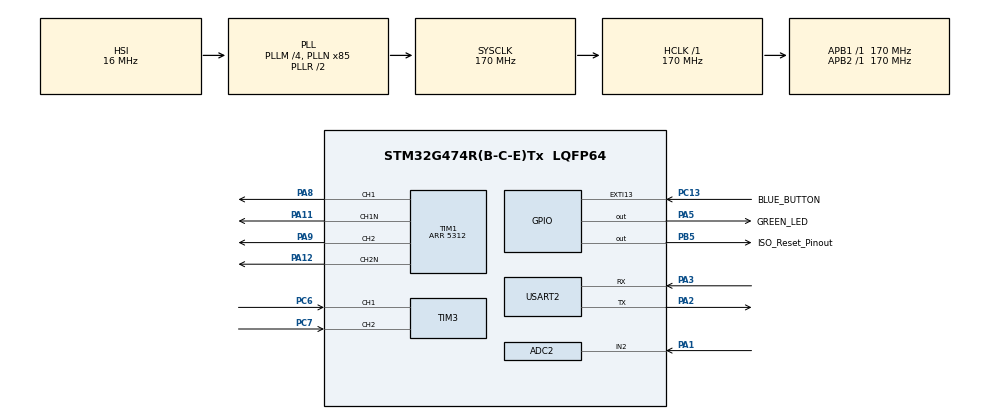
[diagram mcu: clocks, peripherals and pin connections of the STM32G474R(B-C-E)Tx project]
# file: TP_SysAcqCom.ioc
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ADC2.Channel-0\#ChannelRegularConversion=ADC_CHANNEL_2
ADC2.ClockPrescaler=ADC_CLOCK_ASYNC_DIV4
ADC2.DMAContinuousRequests=ENABLE
ADC2.ExternalTrigConv=ADC_EXTERNALTRIG_T2_TRGO
ADC2.NbrOfConversionFlag=1
ADC2.OffsetNumber-0\#ChannelRegularConversion=ADC_OFFSET_NONE
ADC2.Rank-0\#ChannelRegularConversion=1
ADC2.SamplingTime-0\#ChannelRegularConversion=ADC_SAMPLETIME_2CYCLES_5
Dma.ADC2.0.Direction=DMA_PERIPH_TO_MEMORY
Dma.ADC2.0.EventEnable=DISABLE
Dma.ADC2.0.Instance=DMA1_Channel1
Dma.ADC2.0.MemDataAlignment=DMA_MDATAALIGN_HALFWORD
Dma.ADC2.0.MemInc=DMA_MINC_ENABLE
Dma.ADC2.0.Mode=DMA_CIRCULAR
Dma.ADC2.0.PeriphDataAlignment=DMA_PDATAALIGN_HALFWORD
Dma.ADC2.0.PeriphInc=DMA_PINC_DISABLE
Dma.ADC2.0.Polarity=HAL_DMAMUX_REQ_GEN_RISING
Dma.ADC2.0.Priority=DMA_PRIORITY_LOW
Dma.ADC2.0.RequestNumber=1
Dma.ADC2.0.SignalID=NONE
Dma.ADC2.0.SyncEnable=DISABLE
Dma.ADC2.0.SyncPolarity=HAL_DMAMUX_SYNC_NO_EVENT
Dma.ADC2.0.SyncRequestNumber=1
Dma.ADC2.0.SyncSignalID=NONE
Dma.Request0=ADC2
Mcu.Family=STM32G4
Mcu.Name=STM32G474R(B-C-E)Tx
Mcu.Package=LQFP64
NVIC.ADC1_2_IRQn=true\:0\:0\:false\:false\:true\:true\:true\:true
NVIC.DMA1_Channel1_IRQn=true\:0\:0\:false\:false\:true\:false\:true\:true
NVIC.EXTI15_10_IRQn=true\:0\:0\:false\:false\:true\:true\:true\:true
NVIC.PriorityGroup=NVIC_PRIORITYGROUP_4
NVIC.TIM3_IRQn=true\:0\:0\:false\:false\:true\:true\:true\:true
NVIC.TIM4_IRQn=true\:0\:0\:false\:false\:true\:true\:true\:true
NVIC.TIM5_IRQn=true\:0\:0\:false\:false\:true\:true\:true\:true
NVIC.USART2_IRQn=true\:0\:0\:false\:false\:true\:true\:true\:true
PA1.Mode=IN2-Single-Ended
PA1.Signal=ADC2_IN2
PA11.Mode=PWM Generation1 CH1 CH1N
PA11.Signal=TIM1_CH1N
PA12.Mode=PWM Generation2 CH2 CH2N
PA12.Signal=TIM1_CH2N
PA13.GPIO_Label=T_SWDIO
PA13.Mode=Serial_Wire
PA13.Signal=SYS_JTMS-SWDIO
PA14.GPIO_Label=T_SWCLK
PA14.Mode=Serial_Wire
PA14.Signal=SYS_JTCK-SWCLK
PA2.Mode=Asynchronous
PA2.Signal=USART2_TX
PA3.Mode=Asynchronous
PA3.Signal=USART2_RX
PA5.GPIO_Label=GREEN_LED
PA5.Signal=GPIO_Output
PA8.Signal=S_TIM1_CH1
PA9.Signal=S_TIM1_CH2
PB5.GPIO_Label=ISO_Reset_Pinout
PB5.Signal=GPIO_Output
PC13.GPIO_Label=BLUE_BUTTON
PC13.Signal=GPXTI13
PC14-OSC32_IN.Mode=LSE-External-Oscillator
PC14-OSC32_IN.Signal=RCC_OSC32_IN
PC15-OSC32_OUT.Mode=LSE-External-Oscillator
PC15-OSC32_OUT.Signal=RCC_OSC32_OUT
PC6.Signal=S_TIM3_CH1
PC7.Signal=S_TIM3_CH2
PF0-OSC_IN.Mode=HSE-External-Oscillator
PF0-OSC_IN.Signal=RCC_OSC_IN
PF1-OSC_OUT.Mode=HSE-External-Oscillator
PF1-OSC_OUT.Signal=RCC_OSC_OUT
ProjectManager.HeapSize=0x200
ProjectManager.StackSize=0x400
ProjectManager.TargetToolchain=STM32CubeIDE
RCC.ADC12Freq_Value=170000000
RCC.ADC345Freq_Value=170000000
RCC.AHBFreq_Value=170000000
RCC.APB1Freq_Value=170000000
RCC.APB1TimFreq_Value=170000000
RCC.APB2Freq_Value=170000000
RCC.APB2TimFreq_Value=170000000
RCC.CortexFreq_Value=170000000
RCC.EXTERNAL_CLOCK_VALUE=12288000
RCC.HCLKFreq_Value=170000000
RCC.HSE_VALUE=24000000
RCC.HSI48_VALUE=48000000
RCC.HSI_VALUE=16000000
RCC.PLLM=RCC_PLLM_DIV4
RCC.PLLN=85
RCC.RTCClockSelection=RCC_RTCCLKSOURCE_LSE
RCC.SYSCLKFreq_VALUE=170000000
RCC.SYSCLKSource=RCC_SYSCLKSOURCE_PLLCLK
RCC.USBFreq_Value=170000000
RCC.VCOOutputFreq_Value=340000000
SH.S_TIM1_CH1.0=TIM1_CH1,PWM Generation1 CH1 CH1N
SH.S_TIM1_CH2.0=TIM1_CH2,PWM Generation2 CH2 CH2N
SH.S_TIM3_CH1.0=TIM3_CH1,Encoder_Interface
SH.S_TIM3_CH2.0=TIM3_CH2,Encoder_Interface
TIM1.AutoReloadPreload=TIM_AUTORELOAD_PRELOAD_ENABLE
TIM1.Channel-PWM\ Generation1\ CH1\ CH1N=TIM_CHANNEL_1
TIM1.Channel-PWM\ Generation2\ CH2\ CH2N=TIM_CHANNEL_2
TIM1.CounterMode=TIM_COUNTERMODE_CENTERALIGNED1
TIM1.DeadTime=202
TIM1.PeriodNoDither=5312
TIM1.PulseNoDither_1=2656
TIM1.PulseNoDither_2=2656
TIM2.AutoReloadPreload=TIM_AUTORELOAD_PRELOAD_ENABLE
TIM2.PeriodNoDither=65535
TIM2.Prescaler=0
TIM2.TIM_MasterOutputTrigger=TIM_TRGO_UPDATE
TIM2.TIM_MasterSlaveMode=TIM_MASTERSLAVEMODE_DISABLE
TIM3.EncoderMode=TIM_ENCODERMODE_TI12
TIM4.AutoReloadPreload=TIM_AUTORELOAD_PRELOAD_ENABLE
TIM4.PeriodNoDither=9999
TIM4.Prescaler=169
TIM5.PeriodNoDither=999
TIM5.Prescaler=169
USART2.VirtualMode-Asynchronous=VM_ASYNC
VP_SYS_VS_DBSignals.Mode=DisableDeadBatterySignals
VP_TIM2_VS_ClockSourceINT.Mode=Internal
VP_TIM4_VS_ClockSourceINT.Mode=Internal
VP_TIM5_VS_ClockSourceINT.Mode=Internal
board=NUCLEO-G474RE

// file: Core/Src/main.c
/* USER CODE BEGIN Header */
/**
 ******************************************************************************
 * @file           : main.c
 * @brief          : Main program body
 ******************************************************************************
 * @attention
 *
 * Copyright (c) 2022 STMicroelectronics.
 * All rights reserved.
 *
 * This software is licensed under terms that can be found in the LICENSE file
 * in the root directory of this software component.
 * If no LICENSE file comes with this software, it is provided AS-IS.
 *
 ******************************************************************************
 */
/* USER CODE END Header */
#include "main.h"

/* USER CODE BEGIN PD */
#define UART_TX_BUFFER_SIZE 64
#define UART_RX_BUFFER_SIZE 1
#define CMD_BUFFER_SIZE 64
#define MAX_ARGS 9
// LF = line feed, saut de ligne
#define ASCII_LF 0x0A
// CR = carriage return, retour chariot
#define ASCII_CR 0x0D
// DEL = delete
#define ASCII_DEL 0x7F

#define ADC_BUF_SIZE 20

#define ENCODER_MEDIAN_VALUE 32768

/* USER CODE END PD */

ADC_HandleTypeDef hadc2;
DMA_HandleTypeDef hdma_adc2;

TIM_HandleTypeDef htim1;
TIM_HandleTypeDef htim2;
TIM_HandleTypeDef htim3;
TIM_HandleTypeDef htim4;
TIM_HandleTypeDef htim5;

UART_HandleTypeDef huart2;

/* USER CODE BEGIN PV */
uint8_t prompt[]="user@Nucleo-STM32G431>>";
uint8_t started[]=
		"\r\n*-----------------------------*"
		"\r\n| Welcome on Nucleo-STM32G431 |"
		"\r\n*-----------------------------*"
		"\r\n";
uint8_t newline[]="\r\n";
uint8_t cmdNotFound[]="Command not found\r\n";
uint8_t help[]="Available commands : \r\n   help\r\n   pinout\r\n   start\r\n   stop\r\n   set\r\n   alpha\r\n   ADC\r\n";
uint8_t pinout[]="Used PINs : \r\n   PB1  : ISO_Reset\r\n   PA8  : TIM1_CH1\r\n   PA9  : TIM1_CH2\r\n   PA11 : TIM1_CH1N\r\n   PA12 : TIM1_CH2N\r\n   PA1  : ADC2_IN2\r\n   PC6  : TIM3_CH1\r\n   PC7  : TIM3_CH2\r\n";
uint8_t powerOn[]="Power ON\r\n";
uint8_t powerOff[]="Power OFF\r\n";
uint32_t uartRxReceived;
uint8_t uartRxBuffer[UART_RX_BUFFER_SIZE];
uint8_t uartTxBuffer[UART_TX_BUFFER_SIZE];

float alphaValue1 = 0;
float alphaValue2 = 0;

//Pour la mesure de courant
uint16_t ADC1_buffer[ADC_BUF_SIZE];
uint16_t ADC1_buffer_copy[ADC_BUF_SIZE];
uint8_t flagADC1 = 0;
uint8_t idxADC1 = 0;
uint8_t idxADC1bis = 0;
uint32_t ADC1ValueMoy = 0;
float currentADC = 0;

//Pour la mesure de vitesse
float speed = 0;
int32_t encoderCounter = 0;

//Pour l'asservissement en courant
float alpha_current;
float Ki_current = 1;
float K_current =1;

float alpha_ki_current = 50;
float alpha_k_current = 50;
float epsilon_current = 0;

/* USER CODE END PV */

void SystemClock_Config(void);
static void MX_GPIO_Init(void);
static void MX_DMA_Init(void);
static void MX_USART2_UART_Init(void);
static void MX_TIM1_Init(void);
static void MX_TIM2_Init(void);
static void MX_ADC2_Init(void);
static void MX_TIM3_Init(void);
static void MX_TIM4_Init(void);
static void MX_TIM5_Init(void);

/* USER CODE BEGIN 0 */
int __io_putchar(int ch)
{
	HAL_UART_Transmit(&huart2, (uint16_t*)&ch, 1, HAL_MAX_DELAY);

	return ch;
}

//TEST CODEUR EN POSITION
//=================================================================

//int16_t encoderPosition = 0;

void HAL_TIM_IC_CaptureCallback(TIM_HandleTypeDef *htim)
{
	if(htim == &htim3)
	{
		encoderCounter = __HAL_TIM_GET_COUNTER(htim);
		//encoderPosition = (int16_t)encoderCounter;
	}

}
//=================================================================

/* USER CODE END 0 */

int main(void)
{
	/* USER CODE BEGIN 1 */
	char	 	cmdBuffer[CMD_BUFFER_SIZE];
	int 		idx_cmd;
	char* 		argv[MAX_ARGS];
	int		 	argc = 0;
	char*		token;
	int 		newCmdReady = 0;

	/* USER CODE END 1 */

	/* MCU Configuration--------------------------------------------------------*/

	/* Reset of all peripherals, Initializes the Flash interface and the Systick. */
	HAL_Init();

	/* Configure the system clock */
	SystemClock_Config();

	/* Initialize all configured peripherals */
	MX_GPIO_Init();
	MX_DMA_Init();
	MX_USART2_UART_Init();
	MX_TIM1_Init();
	MX_TIM2_Init();
	MX_ADC2_Init();
	MX_TIM3_Init();
	MX_TIM4_Init();
	MX_TIM5_Init();
	/* USER CODE BEGIN 2 */
	memset(argv,NULL,MAX_ARGS*sizeof(char*));
	memset(cmdBuffer,NULL,CMD_BUFFER_SIZE*sizeof(char));
	memset(uartRxBuffer,NULL,UART_RX_BUFFER_SIZE*sizeof(char));
	memset(uartTxBuffer,NULL,UART_TX_BUFFER_SIZE*sizeof(char));

	HAL_UART_Receive_IT(&huart2, uartRxBuffer, UART_RX_BUFFER_SIZE);
	HAL_Delay(10);
	HAL_UART_Transmit(&huart2, started, sizeof(started), HAL_MAX_DELAY);
	HAL_UART_Transmit(&huart2, prompt, sizeof(prompt), HAL_MAX_DELAY);

	START_PWM();

	//Initialisation de l'ADC1
	if(HAL_OK != HAL_ADCEx_Calibration_Start(&hadc2, ADC_SINGLE_ENDED))
		Error_Handler();

	if(HAL_OK != HAL_ADC_Start_DMA(&hadc2, ADC1_buffer, ADC_BUF_SIZE))
		Error_Handler();
	//Initialisation de l'ADC
	if(HAL_OK != HAL_TIM_Base_Start(&htim2))
		Error_Handler();

	if(HAL_OK != HAL_TIM_Encoder_Start_IT(&htim3, TIM_CHANNEL_ALL))
		Error_Handler();

	QuickStart();

	HAL_TIM_Base_Start_IT(&htim4);
	HAL_TIM_Base_Start_IT(&htim5);

	/* USER CODE END 2 */

	/* Infinite loop */
	/* USER CODE BEGIN WHILE */
	while (1)
	{
		if (flagADC1==1)
		{
			//HAL_ADC_Stop_DMA(&hadc1);
			flagADC1=0;
			for(idxADC1=0;idxADC1< ADC_BUF_SIZE; idxADC1++)
			{
				ADC1_buffer_copy[idxADC1] = ADC1_buffer[idxADC1];
				//printf("ADC1_buffer : %d\r\n", ADC1_buffer[idxADC1bis]);
				//ADC1ValueMoy = ADC1ValueMoy + ADC1_buffer[idxADC1];
			}
			//ADC1ValueMoy = ADC1ValueMoy/ADC_BUF_SIZE;
			//CurrentCalcul(ADC1ValueMoy);

			//HAL_ADC_Start_DMA(&hadc1, ADC1_buffer, ADC_BUF_SIZE);

		}

		// uartRxReceived is set to 1 when a new character is received on uart 1
		if(uartRxReceived){
			switch(uartRxBuffer[0]){
			// Nouvelle ligne, instruction à traiter
			case ASCII_CR:
				HAL_UART_Transmit(&huart2, newline, sizeof(newline), HAL_MAX_DELAY);
				cmdBuffer[idx_cmd] = '\0';
				argc = 0;
				token = strtok(cmdBuffer, " ");
				while(token!=NULL){
					argv[argc++] = token;
					token = strtok(NULL, " ");
				}

				idx_cmd = 0;
				newCmdReady = 1;
				break;
				// Suppression du dernier caractère
			case ASCII_DEL:
				cmdBuffer[idx_cmd--] = '\0';
				HAL_UART_Transmit(&huart2, uartRxBuffer, UART_RX_BUFFER_SIZE, HAL_MAX_DELAY);
				break;
				// Nouveau caractère
			default:
				cmdBuffer[idx_cmd++] = uartRxBuffer[0];
				HAL_UART_Transmit(&huart2, uartRxBuffer, UART_RX_BUFFER_SIZE, HAL_MAX_DELAY);
			}
			uartRxReceived = 0;
		}

		if(newCmdReady){
			//=============================================================================================
			if(strcmp(argv[0],"set")==0){
				if(strcmp(argv[1],"PA5")==0){
					HAL_GPIO_WritePin(GREEN_LED_GPIO_Port, GREEN_LED_Pin, atoi(argv[2]));
					sprintf(uartTxBuffer,"Switch on/off led : %d\r\n",atoi(argv[2]));
					HAL_UART_Transmit(&huart2, uartTxBuffer, 32, HAL_MAX_DELAY);
				}
				else{
					HAL_UART_Transmit(&huart2, cmdNotFound, sizeof(cmdNotFound), HAL_MAX_DELAY);
				}
			}

			//=============================================================================================

			else if(strcmp(argv[0],"get")==0)
			{
				HAL_UART_Transmit(&huart2, cmdNotFound, sizeof(cmdNotFound), HAL_MAX_DELAY);
			}

			//=============================================================================================

			else if(strcmp(argv[0],"start")==0)
			{
				HAL_UART_Transmit(&huart2, powerOn, sizeof(powerOn), HAL_MAX_DELAY);
				HAL_GPIO_WritePin(ISO_Reset_Pinout_GPIO_Port, ISO_Reset_Pinout_Pin, SET);
				HAL_Delay(1);
				HAL_GPIO_WritePin(ISO_Reset_Pinout_GPIO_Port, ISO_Reset_Pinout_Pin, RESET);

				START_PWM();

			}

			//=============================================================================================

			else if(strcmp(argv[0],"stop")==0)
			{
				HAL_UART_Transmit(&huart2, powerOff, sizeof(powerOff), HAL_MAX_DELAY);
				HAL_TIM_PWM_Stop(&htim1, TIM_CHANNEL_1);
				HAL_TIMEx_PWMN_Stop(&htim1, TIM_CHANNEL_1);
				HAL_TIM_PWM_Stop(&htim1, TIM_CHANNEL_2);
				HAL_TIMEx_PWMN_Stop(&htim1, TIM_CHANNEL_2);
			}

			//=============================================================================================

			else if(strcmp(argv[0],"help")==0)
			{
				HAL_UART_Transmit(&huart2, help, sizeof(help), HAL_MAX_DELAY);
			}

			//=============================================================================================

			else if(strcmp(argv[0],"pinout")==0)
			{
				HAL_UART_Transmit(&huart2, pinout, sizeof(pinout), HAL_MAX_DELAY);
			}

			//=============================================================================================
			else if(strcmp(argv[0],"alpha")==0)
			{

				Set_Alpha(atoi(argv[1]));
			}

			//=============================================================================================
			else if(strcmp(argv[0],"ADC")==0)
			{
				GetCurrent();
				printf("Courant moteur:%.3f mA\r\n", currentADC);
			}

			//=============================================================================================

			else if(strcmp(argv[0],"p")==0)
			{
				printf("Pos : %d\r\n", encoderCounter );
			}

			//=============================================================================================

			else if(strcmp(argv[0],"speed")==0)
			{
				printf("Speed : %f\r\n",speed);
			}

			//=============================================================================================

			else{
				HAL_UART_Transmit(&huart2, cmdNotFound, sizeof(cmdNotFound), HAL_MAX_DELAY);

			}

			HAL_UART_Transmit(&huart2, prompt, sizeof(prompt), HAL_MAX_DELAY);
			newCmdReady = 0;
		}
		/* USER CODE END WHILE */

	}
}

void SystemClock_Config(void)
{
	RCC_OscInitTypeDef RCC_OscInitStruct = {0};
	RCC_ClkInitTypeDef RCC_ClkInitStruct = {0};

	/** Configure the main internal regulator output voltage
	 */
	HAL_PWREx_ControlVoltageScaling(PWR_REGULATOR_VOLTAGE_SCALE1_BOOST);

	/** Initializes the RCC Oscillators according to the specified parameters
	 * in the RCC_OscInitTypeDef structure.
	 */
	RCC_OscInitStruct.OscillatorType = RCC_OSCILLATORTYPE_HSI;
	RCC_OscInitStruct.HSIState = RCC_HSI_ON;
	RCC_OscInitStruct.HSICalibrationValue = RCC_HSICALIBRATION_DEFAULT;
	RCC_OscInitStruct.PLL.PLLState = RCC_PLL_ON;
	RCC_OscInitStruct.PLL.PLLSource = RCC_PLLSOURCE_HSI;
	RCC_OscInitStruct.PLL.PLLM = RCC_PLLM_DIV4;
	RCC_OscInitStruct.PLL.PLLN = 85;
	RCC_OscInitStruct.PLL.PLLP = RCC_PLLP_DIV2;
	RCC_OscInitStruct.PLL.PLLQ = RCC_PLLQ_DIV2;
	RCC_OscInitStruct.PLL.PLLR = RCC_PLLR_DIV2;
	if (HAL_RCC_OscConfig(&RCC_OscInitStruct) != HAL_OK)
	{
		Error_Handler();
	}

	/** Initializes the CPU, AHB and APB buses clocks
	 */
	RCC_ClkInitStruct.ClockType = RCC_CLOCKTYPE_HCLK|RCC_CLOCKTYPE_SYSCLK
			|RCC_CLOCKTYPE_PCLK1|RCC_CLOCKTYPE_PCLK2;
	RCC_ClkInitStruct.SYSCLKSource = RCC_SYSCLKSOURCE_PLLCLK;
	RCC_ClkInitStruct.AHBCLKDivider = RCC_SYSCLK_DIV1;
	RCC_ClkInitStruct.APB1CLKDivider = RCC_HCLK_DIV1;
	RCC_ClkInitStruct.APB2CLKDivider = RCC_HCLK_DIV1;

	if (HAL_RCC_ClockConfig(&RCC_ClkInitStruct, FLASH_LATENCY_4) != HAL_OK)
	{
		Error_Handler();
	}
}

static void MX_ADC2_Init(void)
{

	ADC_ChannelConfTypeDef sConfig = {0};

	/** Common config
	 */
	hadc2.Instance = ADC2;
	hadc2.Init.ClockPrescaler = ADC_CLOCK_ASYNC_DIV4;
	hadc2.Init.Resolution = ADC_RESOLUTION_12B;
	hadc2.Init.DataAlign = ADC_DATAALIGN_RIGHT;
	hadc2.Init.GainCompensation = 0;
	hadc2.Init.ScanConvMode = ADC_SCAN_DISABLE;
	hadc2.Init.EOCSelection = ADC_EOC_SINGLE_CONV;
	hadc2.Init.LowPowerAutoWait = DISABLE;
	hadc2.Init.ContinuousConvMode = DISABLE;
	hadc2.Init.NbrOfConversion = 1;
	hadc2.Init.DiscontinuousConvMode = DISABLE;
	hadc2.Init.ExternalTrigConv = ADC_EXTERNALTRIG_T2_TRGO;
	hadc2.Init.ExternalTrigConvEdge = ADC_EXTERNALTRIGCONVEDGE_RISING;
	hadc2.Init.DMAContinuousRequests = ENABLE;
	hadc2.Init.Overrun = ADC_OVR_DATA_PRESERVED;
	hadc2.Init.OversamplingMode = DISABLE;
	if (HAL_ADC_Init(&hadc2) != HAL_OK)
	{
		Error_Handler();
	}

	/** Configure Regular Channel
	 */
	sConfig.Channel = ADC_CHANNEL_2;
	sConfig.Rank = ADC_REGULAR_RANK_1;
	sConfig.SamplingTime = ADC_SAMPLETIME_2CYCLES_5;
	sConfig.SingleDiff = ADC_SINGLE_ENDED;
	sConfig.OffsetNumber = ADC_OFFSET_NONE;
	sConfig.Offset = 0;
	if (HAL_ADC_ConfigChannel(&hadc2, &sConfig) != HAL_OK)
	{
		Error_Handler();
	}

}

static void MX_TIM1_Init(void)
{

	TIM_MasterConfigTypeDef sMasterConfig = {0};
	TIM_OC_InitTypeDef sConfigOC = {0};
	TIM_BreakDeadTimeConfigTypeDef sBreakDeadTimeConfig = {0};

	htim1.Instance = TIM1;
	htim1.Init.Prescaler = 0;
	htim1.Init.CounterMode = TIM_COUNTERMODE_CENTERALIGNED1;
	htim1.Init.Period = 5312;
	htim1.Init.ClockDivision = TIM_CLOCKDIVISION_DIV1;
	htim1.Init.RepetitionCounter = 0;
	htim1.Init.AutoReloadPreload = TIM_AUTORELOAD_PRELOAD_ENABLE;
	if (HAL_TIM_PWM_Init(&htim1) != HAL_OK)
	{
		Error_Handler();
	}
	sMasterConfig.MasterOutputTrigger = TIM_TRGO_RESET;
	sMasterConfig.MasterOutputTrigger2 = TIM_TRGO2_RESET;
	sMasterConfig.MasterSlaveMode = TIM_MASTERSLAVEMODE_DISABLE;
	if (HAL_TIMEx_MasterConfigSynchronization(&htim1, &sMasterConfig) != HAL_OK)
	{
		Error_Handler();
	}
	sConfigOC.OCMode = TIM_OCMODE_PWM1;
	sConfigOC.Pulse = 2656;
	sConfigOC.OCPolarity = TIM_OCPOLARITY_HIGH;
	sConfigOC.OCNPolarity = TIM_OCNPOLARITY_HIGH;
	sConfigOC.OCFastMode = TIM_OCFAST_DISABLE;
	sConfigOC.OCIdleState = TIM_OCIDLESTATE_RESET;
	sConfigOC.OCNIdleState = TIM_OCNIDLESTATE_RESET;
	if (HAL_TIM_PWM_ConfigChannel(&htim1, &sConfigOC, TIM_CHANNEL_1) != HAL_OK)
	{
		Error_Handler();
	}
	if (HAL_TIM_PWM_ConfigChannel(&htim1, &sConfigOC, TIM_CHANNEL_2) != HAL_OK)
	{
		Error_Handler();
	}
	sBreakDeadTimeConfig.OffStateRunMode = TIM_OSSR_DISABLE;
	sBreakDeadTimeConfig.OffStateIDLEMode = TIM_OSSI_DISABLE;
	sBreakDeadTimeConfig.LockLevel = TIM_LOCKLEVEL_OFF;
	sBreakDeadTimeConfig.DeadTime = 202;
	sBreakDeadTimeConfig.BreakState = TIM_BREAK_DISABLE;
	sBreakDeadTimeConfig.BreakPolarity = TIM_BREAKPOLARITY_HIGH;
	sBreakDeadTimeConfig.BreakFilter = 0;
	sBreakDeadTimeConfig.BreakAFMode = TIM_BREAK_AFMODE_INPUT;
	sBreakDeadTimeConfig.Break2State = TIM_BREAK2_DISABLE;
	sBreakDeadTimeConfig.Break2Polarity = TIM_BREAK2POLARITY_HIGH;
	sBreakDeadTimeConfig.Break2Filter = 0;
	sBreakDeadTimeConfig.Break2AFMode = TIM_BREAK_AFMODE_INPUT;
	sBreakDeadTimeConfig.AutomaticOutput = TIM_AUTOMATICOUTPUT_DISABLE;
	if (HAL_TIMEx_ConfigBreakDeadTime(&htim1, &sBreakDeadTimeConfig) != HAL_OK)
	{
		Error_Handler();
	}
	HAL_TIM_MspPostInit(&htim1);

}

static void MX_TIM2_Init(void)
{

	TIM_ClockConfigTypeDef sClockSourceConfig = {0};
	TIM_MasterConfigTypeDef sMasterConfig = {0};

	htim2.Instance = TIM2;
	htim2.Init.Prescaler = 0;
	htim2.Init.CounterMode = TIM_COUNTERMODE_UP;
	htim2.Init.Period = 65535;
	htim2.Init.ClockDivision = TIM_CLOCKDIVISION_DIV1;
	htim2.Init.AutoReloadPreload = TIM_AUTORELOAD_PRELOAD_ENABLE;
	if (HAL_TIM_Base_Init(&htim2) != HAL_OK)
	{
		Error_Handler();
	}
	sClockSourceConfig.ClockSource = TIM_CLOCKSOURCE_INTERNAL;
	if (HAL_TIM_ConfigClockSource(&htim2, &sClockSourceConfig) != HAL_OK)
	{
		Error_Handler();
	}
	sMasterConfig.MasterOutputTrigger = TIM_TRGO_UPDATE;
	sMasterConfig.MasterSlaveMode = TIM_MASTERSLAVEMODE_DISABLE;
	if (HAL_TIMEx_MasterConfigSynchronization(&htim2, &sMasterConfig) != HAL_OK)
	{
		Error_Handler();
	}

}

static void MX_TIM3_Init(void)
{

	TIM_Encoder_InitTypeDef sConfig = {0};
	TIM_MasterConfigTypeDef sMasterConfig = {0};

	htim3.Instance = TIM3;
	htim3.Init.Prescaler = 0;
	htim3.Init.CounterMode = TIM_COUNTERMODE_UP;
	htim3.Init.Period = 65535;
	htim3.Init.ClockDivision = TIM_CLOCKDIVISION_DIV1;
	htim3.Init.AutoReloadPreload = TIM_AUTORELOAD_PRELOAD_DISABLE;
	sConfig.EncoderMode = TIM_ENCODERMODE_TI12;
	sConfig.IC1Polarity = TIM_ICPOLARITY_RISING;
	sConfig.IC1Selection = TIM_ICSELECTION_DIRECTTI;
	sConfig.IC1Prescaler = TIM_ICPSC_DIV1;
	sConfig.IC1Filter = 0;
	sConfig.IC2Polarity = TIM_ICPOLARITY_RISING;
	sConfig.IC2Selection = TIM_ICSELECTION_DIRECTTI;
	sConfig.IC2Prescaler = TIM_ICPSC_DIV1;
	sConfig.IC2Filter = 0;
	if (HAL_TIM_Encoder_Init(&htim3, &sConfig) != HAL_OK)
	{
		Error_Handler();
	}
	sMasterConfig.MasterOutputTrigger = TIM_TRGO_RESET;
	sMasterConfig.MasterSlaveMode = TIM_MASTERSLAVEMODE_DISABLE;
	if (HAL_TIMEx_MasterConfigSynchronization(&htim3, &sMasterConfig) != HAL_OK)
	{
		Error_Handler();
	}

}

static void MX_TIM4_Init(void)
{

	TIM_ClockConfigTypeDef sClockSourceConfig = {0};
	TIM_MasterConfigTypeDef sMasterConfig = {0};

	htim4.Instance = TIM4;
	htim4.Init.Prescaler = 169;
	htim4.Init.CounterMode = TIM_COUNTERMODE_UP;
	htim4.Init.Period = 9999;
	htim4.Init.ClockDivision = TIM_CLOCKDIVISION_DIV1;
	htim4.Init.AutoReloadPreload = TIM_AUTORELOAD_PRELOAD_ENABLE;
	if (HAL_TIM_Base_Init(&htim4) != HAL_OK)
	{
		Error_Handler();
	}
	sClockSourceConfig.ClockSource = TIM_CLOCKSOURCE_INTERNAL;
	if (HAL_TIM_ConfigClockSource(&htim4, &sClockSourceConfig) != HAL_OK)
	{
		Error_Handler();
	}
	sMasterConfig.MasterOutputTrigger = TIM_TRGO_RESET;
	sMasterConfig.MasterSlaveMode = TIM_MASTERSLAVEMODE_DISABLE;
	if (HAL_TIMEx_MasterConfigSynchronization(&htim4, &sMasterConfig) != HAL_OK)
	{
		Error_Handler();
	}

}

static void MX_TIM5_Init(void)
{

	TIM_ClockConfigTypeDef sClockSourceConfig = {0};
	TIM_MasterConfigTypeDef sMasterConfig = {0};

	htim5.Instance = TIM5;
	htim5.Init.Prescaler = 169;
	htim5.Init.CounterMode = TIM_COUNTERMODE_UP;
	htim5.Init.Period = 999;
	htim5.Init.ClockDivision = TIM_CLOCKDIVISION_DIV1;
	htim5.Init.AutoReloadPreload = TIM_AUTORELOAD_PRELOAD_DISABLE;
	if (HAL_TIM_Base_Init(&htim5) != HAL_OK)
	{
		Error_Handler();
	}
	sClockSourceConfig.ClockSource = TIM_CLOCKSOURCE_INTERNAL;
	if (HAL_TIM_ConfigClockSource(&htim5, &sClockSourceConfig) != HAL_OK)
	{
		Error_Handler();
	}
	sMasterConfig.MasterOutputTrigger = TIM_TRGO_RESET;
	sMasterConfig.MasterSlaveMode = TIM_MASTERSLAVEMODE_DISABLE;
	if (HAL_TIMEx_MasterConfigSynchronization(&htim5, &sMasterConfig) != HAL_OK)
	{
		Error_Handler();
	}

}

static void MX_USART2_UART_Init(void)
{

	huart2.Instance = USART2;
	huart2.Init.BaudRate = 115200;
	huart2.Init.WordLength = UART_WORDLENGTH_8B;
	huart2.Init.StopBits = UART_STOPBITS_1;
	huart2.Init.Parity = UART_PARITY_NONE;
	huart2.Init.Mode = UART_MODE_TX_RX;
	huart2.Init.HwFlowCtl = UART_HWCONTROL_NONE;
	huart2.Init.OverSampling = UART_OVERSAMPLING_16;
	huart2.Init.OneBitSampling = UART_ONE_BIT_SAMPLE_DISABLE;
	huart2.Init.ClockPrescaler = UART_PRESCALER_DIV1;
	huart2.AdvancedInit.AdvFeatureInit = UART_ADVFEATURE_NO_INIT;
	if (HAL_UART_Init(&huart2) != HAL_OK)
	{
		Error_Handler();
	}
	if (HAL_UARTEx_SetTxFifoThreshold(&huart2, UART_TXFIFO_THRESHOLD_1_8) != HAL_OK)
	{
		Error_Handler();
	}
	if (HAL_UARTEx_SetRxFifoThreshold(&huart2, UART_RXFIFO_THRESHOLD_1_8) != HAL_OK)
	{
		Error_Handler();
	}
	if (HAL_UARTEx_DisableFifoMode(&huart2) != HAL_OK)
	{
		Error_Handler();
	}

}

static void MX_DMA_Init(void)
{

	/* DMA controller clock enable */
	__HAL_RCC_DMAMUX1_CLK_ENABLE();
	__HAL_RCC_DMA1_CLK_ENABLE();

	/* DMA interrupt init */
	/* DMA1_Channel1_IRQn interrupt configuration */
	HAL_NVIC_SetPriority(DMA1_Channel1_IRQn, 0, 0);
	HAL_NVIC_EnableIRQ(DMA1_Channel1_IRQn);

}

static void MX_GPIO_Init(void)
{
	GPIO_InitTypeDef GPIO_InitStruct = {0};

	/* GPIO Ports Clock Enable */
	__HAL_RCC_GPIOC_CLK_ENABLE();
	__HAL_RCC_GPIOF_CLK_ENABLE();
	__HAL_RCC_GPIOA_CLK_ENABLE();
	__HAL_RCC_GPIOB_CLK_ENABLE();

	/*Configure GPIO pin Output Level */
	HAL_GPIO_WritePin(GREEN_LED_GPIO_Port, GREEN_LED_Pin, GPIO_PIN_RESET);

	/*Configure GPIO pin Output Level */
	HAL_GPIO_WritePin(ISO_Reset_Pinout_GPIO_Port, ISO_Reset_Pinout_Pin, GPIO_PIN_RESET);

	/*Configure GPIO pin : BLUE_BUTTON_Pin */
	GPIO_InitStruct.Pin = BLUE_BUTTON_Pin;
	GPIO_InitStruct.Mode = GPIO_MODE_IT_RISING;
	GPIO_InitStruct.Pull = GPIO_NOPULL;
	HAL_GPIO_Init(BLUE_BUTTON_GPIO_Port, &GPIO_InitStruct);

	/*Configure GPIO pin : GREEN_LED_Pin */
	GPIO_InitStruct.Pin = GREEN_LED_Pin;
	GPIO_InitStruct.Mode = GPIO_MODE_OUTPUT_PP;
	GPIO_InitStruct.Pull = GPIO_NOPULL;
	GPIO_InitStruct.Speed = GPIO_SPEED_FREQ_LOW;
	HAL_GPIO_Init(GREEN_LED_GPIO_Port, &GPIO_InitStruct);

	/*Configure GPIO pin : ISO_Reset_Pinout_Pin */
	GPIO_InitStruct.Pin = ISO_Reset_Pinout_Pin;
	GPIO_InitStruct.Mode = GPIO_MODE_OUTPUT_PP;
	GPIO_InitStruct.Pull = GPIO_NOPULL;
	GPIO_InitStruct.Speed = GPIO_SPEED_FREQ_LOW;
	HAL_GPIO_Init(ISO_Reset_Pinout_GPIO_Port, &GPIO_InitStruct);

	/* EXTI interrupt init*/
	HAL_NVIC_SetPriority(EXTI15_10_IRQn, 0, 0);
	HAL_NVIC_EnableIRQ(EXTI15_10_IRQn);

}

/* USER CODE BEGIN 4 */
void HAL_UART_RxCpltCallback (UART_HandleTypeDef * huart){
	uartRxReceived = 1;
	HAL_UART_Receive_IT(&huart2, uartRxBuffer, UART_RX_BUFFER_SIZE);
}

void HAL_TIM_PeriodElapsedCallback(TIM_HandleTypeDef *htim)
{
	if(htim == &htim4)
	{
		SpeedCalc();
	}
}

/*void HAL_TIM_PeriodElapsedCallback(TIM_HandleTypeDef *htim)
{
	if(htim == &htim5)
	{
		alpha_current = AsservCurrentStep();
		Set_Alpha(alpha_current)
	}
}*/

/**
 * @brief Start PWM
 * @Note Cette fonction permet de démarrer les 4 signaux PWM nécessaires au fonctionnement du moteur
 * @param None
 * @retval None
 */
void START_PWM(void)
{
	HAL_TIM_PWM_Start(&htim1, TIM_CHANNEL_1);
	HAL_TIMEx_PWMN_Start(&htim1, TIM_CHANNEL_1);
	HAL_TIM_PWM_Start(&htim1, TIM_CHANNEL_2);
	HAL_TIMEx_PWMN_Start(&htim1, TIM_CHANNEL_2);
}

/**
 * @brief Set Alpha
 * @Note Cette fonction permet de modifier la valeur du rapport cyclique de nos signaux PWM (en %)
 * @param int alpha : valeur comprise entre 0 et 100
 * @retval None
 */
void Set_Alpha(int _alpha)
{

	alphaValue1 = (_alpha*TIM1->ARR)/100;
	alphaValue2 = TIM1->ARR - alphaValue1;
	TIM1->CCR1 = (int) alphaValue1;
	TIM1->CCR2 = (int) alphaValue2;

}

/**
 * @brief Quick Start
 * @Note Permet de démarrer rapidement le moteur avec un rapport cyclique de 60%
 * @param None
 * @retval None
 */
void QuickStart(void)
{
	START_PWM();
	Set_Alpha(56.0);

}

void HAL_ADC_ConvCpltCallback(ADC_HandleTypeDef* hadc)
{
	flagADC1 = 1;
}

void GetCurrent()
{
	ADC1ValueMoy = 0;
	for(idxADC1bis=0 ; idxADC1bis < ADC_BUF_SIZE ; idxADC1bis++)
	{
		//printf("Moy : %d\r\n", ADC1ValueMoy);

		ADC1ValueMoy = ADC1ValueMoy + ADC1_buffer_copy[idxADC1bis];
	}
	//printf("Moy Totale : %d\r\n", ADC1ValueMoy);
	ADC1ValueMoy = ADC1ValueMoy/ADC_BUF_SIZE;
	//printf("MoyFinale : %d\r\n", ADC1ValueMoy);

	CurrentCalcul(ADC1ValueMoy);
	//printf("Courant moteur:%.3f mA\r\n", currentADC);
}

/**
 * @brief Current Calcul
 * @Note Envoie dans la variable currentADC la valeur convertie du courant moteur en mA
 * @param uint32_t moy : moyenne des valeurs brutes contenues dans le buffer de l'ADC
 * @retval None
 */
void CurrentCalcul(uint32_t moy)
{
	currentADC = 1000*(moy/4095.0)*3.3;
	currentADC = (currentADC-2500)*12;
}

/**
 * @brief Speed Calcul
 * @Note Envoie dans la variable speed la valeur convertie de la vitesse de rotation du moteur en tr/s
 * @param None
 * @retval None
 */
void SpeedCalc()
{
	encoderCounter = __HAL_TIM_GET_COUNTER(&htim3);
	speed = (ENCODER_MEDIAN_VALUE - encoderCounter)/0.01/4095;
	__HAL_TIM_SET_COUNTER(&htim3,ENCODER_MEDIAN_VALUE);
}

int AsservCurrentStep(float I_consigne)
{
	float newAlpha_ki;
	float newAlpha_k;
	float newEpsilon;
	float newAlpha;

	GetCurrent();
	newEpsilon = I_consigne - currentADC;

	newAlpha_k = newEpsilon * K_current;
	newAlpha_ki = alpha_ki_current + (Ki_current*0.001/2)*(newEpsilon + epsilon_current);   //0.001 car fréquence de timer de 1kHz

	newAlpha = newAlpha_k + newAlpha_ki;

	alpha_ki_current = newAlpha_ki;
	epsilon_current = newEpsilon;

	return (int)newAlpha;

}

/* USER CODE END 4 */

void Error_Handler(void)
{
	__disable_irq();
	while (1)
	{
	}
}
